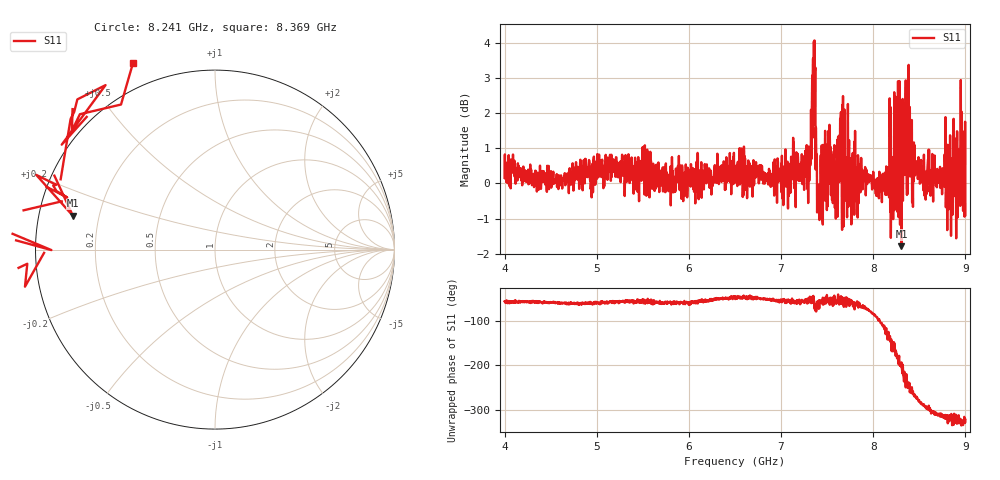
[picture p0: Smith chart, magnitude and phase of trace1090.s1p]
! Created with skrf 1.8.0 (http://scikit-rf.org).
# Hz S RI R 50.0
!freq ReS11 ImS11
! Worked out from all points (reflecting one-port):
!   1601 points, 4 GHz to 9 GHz, reference 50 ohm
!   lowest |S11| = -1.8 dB at 8.306 GHz (marker M1), VSWR 9.75, Z = 5.2 + j5.81 ohm
!   phase of S11 starts at -56 deg and turns -266 deg over the sweep
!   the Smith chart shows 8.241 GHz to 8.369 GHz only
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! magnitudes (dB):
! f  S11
! 4 GHz  0.2
! 4.625 GHz  -0.1
! 5.25 GHz  0.2
! 5.875 GHz  0.1
! 6.5 GHz  0.4
! 7.125 GHz  0.2
! 7.297 GHz  0.1
! 7.347 GHz  3.6
! 7.362 GHz  4.1
! 7.4 GHz  -0.5
! 7.412 GHz  -0.4
! 7.509 GHz  0.4
! 7.609 GHz  1.2
! 7.65 GHz  2.0
! 7.703 GHz  -0.3
! 7.75 GHz  -0.1
! 8.209 GHz  0.4
! 8.262 GHz  -0.8
! 8.306 GHz  -1.8
! 8.316 GHz  1.0
! 8.334 GHz  0.8
! 8.375 GHz  1.0
! 8.447 GHz  1.1
! 8.556 GHz  -0.3
! 8.775 GHz  0.8
! 8.841 GHz  0.6
! 8.953 GHz  -0.3
! 9 GHz  -0.9
